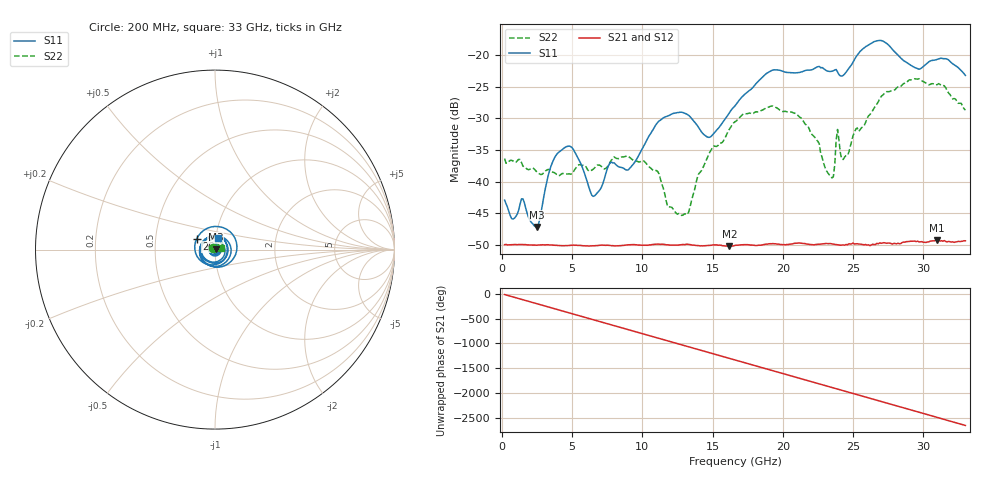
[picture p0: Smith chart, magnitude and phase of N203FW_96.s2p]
# GHZ S RI R 50
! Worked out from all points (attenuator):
!   329 points, 200 MHz to 33 GHz, reference 50 ohm
!   highest |S21| = -49.26 dB at 31 GHz (marker M1); lowest = -50.2 dB at 16.2 GHz (marker M2)
!   lowest |S11| = -47.2 dB at 2.5 GHz (marker M3), VSWR 1.01, Z = 50.4 + j0.238 ohm
!   |S11| at or under -10 dB: start of sweep to end of sweep
!   |S22| runs from -45.3 to -23.7 dB; largest |S21 - S12| = 8.9e-05
!   S11 on the Smith chart (normalised r, x): 200 MHz: 1.01, +0.01; 26 GHz: 0.81, +0.10; 33 GHz: 1.03, +0.14
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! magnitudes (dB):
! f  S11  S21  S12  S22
! 200 MHz  -42.9  -50.0  -49.9  -36.4
! 800 MHz  -45.9  -50.0  -50.0  -36.7
! 1.5 GHz  -42.7  -49.9  -49.9  -37.5
! 2.5 GHz  -47.2  -50.0  -50.0  -38.5
! 3.9 GHz  -35.7  -50.1  -50.1  -38.9
! 5.7 GHz  -37.5  -50.1  -50.1  -37.4
! 6.6 GHz  -42.3  -50.1  -50.1  -37.8
! 11.2 GHz  -30.4  -49.9  -49.9  -38.8
! 11.8 GHz  -29.6  -50.0  -50.0  -43.9
! 13.2 GHz  -29.4  -49.9  -49.9  -45.2
! 14.8 GHz  -33.0  -50.1  -50.1  -35.4
! 16.2 GHz  -29.1  -50.2  -50.2  -31.7
! 16.6 GHz  -28.0  -50.1  -50.1  -30.5
! 19.3 GHz  -22.3  -49.8  -49.8  -28.0
! 22.1 GHz  -22.3  -50.0  -49.9  -32.6
! 23.5 GHz  -22.5  -49.8  -49.8  -39.4
! 23.9 GHz  -22.6  -50.0  -50.0  -31.8
! 24.3 GHz  -23.2  -50.0  -50.0  -36.5
! 26 GHz  -18.5  -50.0  -50.0  -30.0
! 27.6 GHz  -18.6  -49.7  -49.7  -25.8
! 31 GHz  -20.7  -49.3  -49.2  -24.6
! 33 GHz  -23.2  -49.3  -49.4  -28.7
